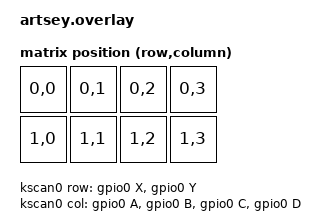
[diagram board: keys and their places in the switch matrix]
#include <dt-bindings/zmk/matrix_transform.h>
#include <dt-bindings/gpio/gpio.h>

/ {
    chosen {
        zmk,kscan = &kscan0;
        zmk,matrix_transform = &default_transform;
    };

    kscan0: kscan {
        compatible = "zmk,kscan-gpio-matrix";
        diode-direction = "row2col";

        /*
         * ここは今あなたが使っているピン番号に置き換える
         * 例:
         * P0.06 -> <&gpio0 6 (...)>
         * P1.00 -> <&gpio1 0 (...)>
         */
        row-gpios = <&gpio0 X (GPIO_ACTIVE_LOW | GPIO_PULL_UP)>,
                    <&gpio0 Y (GPIO_ACTIVE_LOW | GPIO_PULL_UP)>;

        col-gpios = <&gpio0 A GPIO_ACTIVE_LOW>,
                    <&gpio0 B GPIO_ACTIVE_LOW>,
                    <&gpio0 C GPIO_ACTIVE_LOW>,
                    <&gpio0 D GPIO_ACTIVE_LOW>;
    };

    default_transform: matrix_transform {
        compatible = "zmk,matrix-transform";
        rows = <2>;
        columns = <4>;

        map = <
            RC(0,0) RC(0,1) RC(0,2) RC(0,3)
            RC(1,0) RC(1,1) RC(1,2) RC(1,3)
        >;
    };
};
